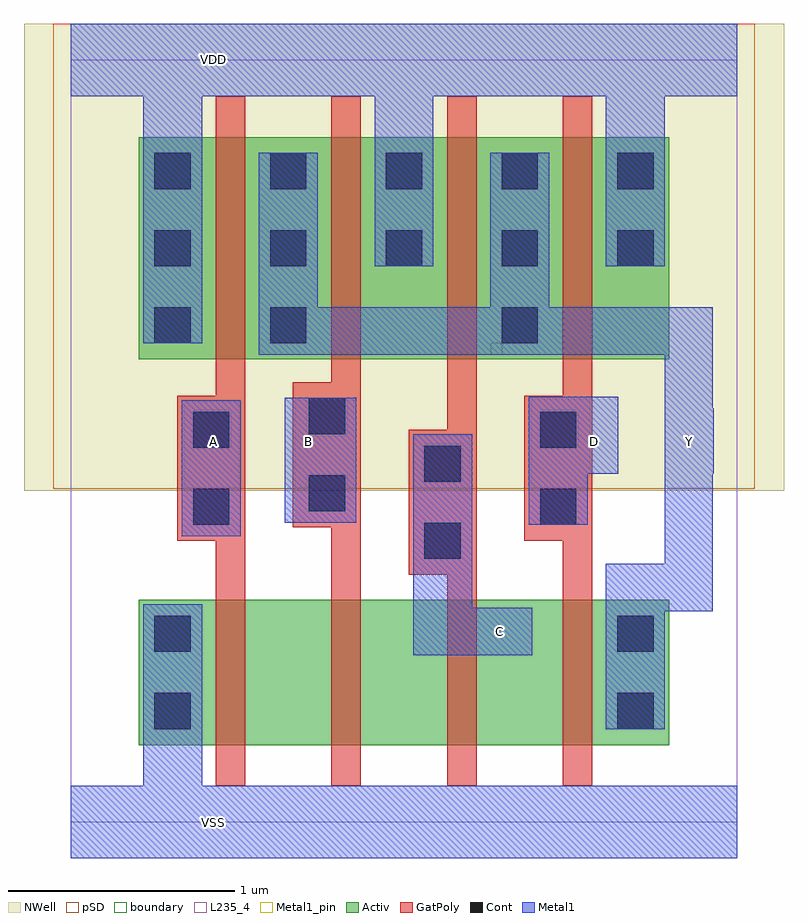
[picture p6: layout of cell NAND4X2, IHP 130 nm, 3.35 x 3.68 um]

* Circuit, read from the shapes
.subckt NAND4X2 A B C D VDD VSS Y
XM1 n1 A VSS VSUBS sg13_lv_nmos w=0.64u l=0.13u
XM2 n2 B n1 VSUBS sg13_lv_nmos w=0.64u l=0.13u
XM3 n3 C n2 VSUBS sg13_lv_nmos w=0.64u l=0.13u
XM4 Y D n3 VSUBS sg13_lv_nmos w=0.64u l=0.13u
XM5 Y A VDD n4 sg13_lv_pmos w=0.98u l=0.13u
XM6 VDD B Y n4 sg13_lv_pmos w=0.98u l=0.13u
XM7 Y C VDD n4 sg13_lv_pmos w=0.98u l=0.13u
XM8 VDD D Y n4 sg13_lv_pmos w=0.98u l=0.13u
.ends

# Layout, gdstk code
import gdstk
lib = gdstk.Library(unit=1e-6, precision=1e-09)
def R(c, l, rs):  # rectangles x0, y0, x1, y1
    for r in rs: c.add(gdstk.rectangle(r[:2], r[2:], *l))
def A(c, l, x, y, w, h, nx, ny, dx, dy):  # array of equal rectangles
    R(c, l, [(x+i*dx, y+j*dy, x+i*dx+w, y+j*dy+h) for i in range(nx) for j in range(ny)])
def P(c, l, *ps):  # polygons
    for p in ps: c.add(gdstk.Polygon(p, *l))
Activ = (1, 0)
GatPoly = (5, 0)
Cont = (6, 0)
Metal1 = (8, 0)
Metal1_pin = (8, 2)
pSD = (14, 0)
NWell = (31, 0)
boundary = (189, 4)
L235_4 = (235, 4)

nand4x2 = lib.new_cell('NAND4X2')
R(nand4x2, Activ, [(0.3,0.34,2.64,0.98), (0.3,2.04,2.64,3.02)])
P(nand4x2, GatPoly, [(1.15,0.16),(1.15,1.3),(0.98,1.3),(0.98,1.94),(1.15,1.94),(1.15,3.2),(1.28,3.2),(1.28,0.16)],
  [(1.66,0.16),(1.66,1.09),(1.49,1.09),(1.49,1.73),(1.66,1.73),(1.66,3.2),(1.79,3.2),(1.79,0.16)],
  [(0.64,0.16),(0.64,1.24),(0.47,1.24),(0.47,1.88),(0.64,1.88),(0.64,3.2),(0.77,3.2),(0.77,0.16)],
  [(2.17,0.16),(2.17,1.24),(2,1.24),(2,1.88),(2.17,1.88),(2.17,3.2),(2.3,3.2),(2.3,0.16)])
A(nand4x2, Cont, 0.37, 2.45, 0.16, 0.16, 5, 2, 0.51, 0.34)
R(nand4x2, Cont, [(0.37,0.41,0.53,0.57), (2.41,0.41,2.57,0.57), (0.37,0.75,0.53,0.91), (2.41,0.75,2.57,0.91), (1.56,1.16,1.72,1.32), (0.54,1.31,0.7,1.47), (2.07,1.31,2.23,1.47), (1.05,1.37,1.21,1.53), (1.56,1.5,1.72,1.66), (0.54,1.65,0.7,1.81), (2.07,1.65,2.23,1.81), (1.05,1.71,1.21,1.87), (0.37,2.11,0.53,2.27), (0.88,2.11,1.04,2.27), (1.9,2.11,2.06,2.27)])
R(nand4x2, Metal1, [(0.49,1.26,0.75,1.86), (0.945,1.32,1.26,1.87)])
P(nand4x2, Metal1, [(1.51,0.735),(1.51,1.71),(1.77,1.71),(1.77,0.945),(2.035,0.945),(2.035,0.735)],
  [(2.02,1.31),(2.02,1.875),(2.415,1.875),(2.415,1.535),(2.28,1.535),(2.28,1.31)],
  [(0,-0.16),(0,0.16),(0.32,0.16),(0.32,0.96),(0.58,0.96),(0.58,0.16),(2.94,0.16),(2.94,-0.16)],
  [(0.32,2.11),(0.32,3.2),(0,3.2),(0,3.52),(2.94,3.52),(2.94,3.2),(2.62,3.2),(2.62,2.45),(2.36,2.45),(2.36,3.2),(1.6,3.2),(1.6,2.45),(1.34,2.45),(1.34,3.2),(0.58,3.2),(0.58,2.11)],
  [(2.36,0.41),(2.36,1.14),(2.62,1.14),(2.62,2.06),(0.83,2.06),(0.83,2.95),(1.09,2.95),(1.09,2.27),(1.85,2.27),(1.85,2.95),(2.11,2.95),(2.11,2.27),(2.83,2.27),(2.83,1.825),(2.835,1.825),(2.835,1.535),(2.83,1.535),(2.83,0.93),(2.62,0.93),(2.62,0.41)])
R(nand4x2, Metal1_pin, [(0,-0.16,2.94,0.16), (1.51,0.735,2.035,0.945), (0.49,1.26,0.75,1.86), (0.945,1.32,1.26,1.87), (2.02,1.535,2.415,1.875), (0,3.2,2.94,3.52)])
P(nand4x2, Metal1_pin, [(0,-0.16),(0,0.16),(0.32,0.16),(0.32,0.96),(0.58,0.96),(0.58,0.16),(2.94,0.16),(2.94,-0.16)],
  [(0.32,2.11),(0.32,3.2),(0,3.2),(0,3.52),(2.94,3.52),(2.94,3.2),(2.62,3.2),(2.62,2.45),(2.36,2.45),(2.36,3.2),(1.6,3.2),(1.6,2.45),(1.34,2.45),(1.34,3.2),(0.58,3.2),(0.58,2.11)],
  [(2.02,1.31),(2.02,1.875),(2.415,1.875),(2.415,1.535),(2.28,1.535),(2.28,1.31)],
  [(1.51,0.735),(1.51,1.71),(1.77,1.71),(1.77,0.945),(2.035,0.945),(2.035,0.735)],
  [(2.36,0.41),(2.36,1.14),(2.62,1.14),(2.62,2.06),(1.9,2.06),(1.9,2.11),(1.855,2.11),(1.855,2.06),(0.83,2.06),(0.83,2.95),(1.09,2.95),(1.09,2.27),(1.85,2.27),(1.85,2.95),(2.11,2.95),(2.11,2.27),(2.83,2.27),(2.83,1.825),(2.835,1.825),(2.835,1.535),(2.83,1.535),(2.83,0.93),(2.62,0.93),(2.62,0.41)])
R(nand4x2, pSD, [(-0.075,1.47,3.015,3.52)])
R(nand4x2, NWell, [(-0.205,1.46,3.145,3.52)])
R(nand4x2, boundary, [(0,0,2.94,3.36)])
R(nand4x2, L235_4, [(0,0,2.94,3.36)])
nand4x2.add(gdstk.Label('VDD', (0.63,3.36), layer=8, texttype=25))
nand4x2.add(gdstk.Label('A', (0.63,1.68), layer=8, texttype=25))
nand4x2.add(gdstk.Label('D', (2.31,1.68), layer=8, texttype=25))
nand4x2.add(gdstk.Label('VSS', (0.63,0), layer=8, texttype=25))
nand4x2.add(gdstk.Label('C', (1.89,0.84), layer=8, texttype=25))
nand4x2.add(gdstk.Label('B', (1.05,1.68), layer=8, texttype=25))
nand4x2.add(gdstk.Label('Y', (2.73,1.68), layer=8, texttype=25))

lib.write_gds('NAND4X2.gds')
